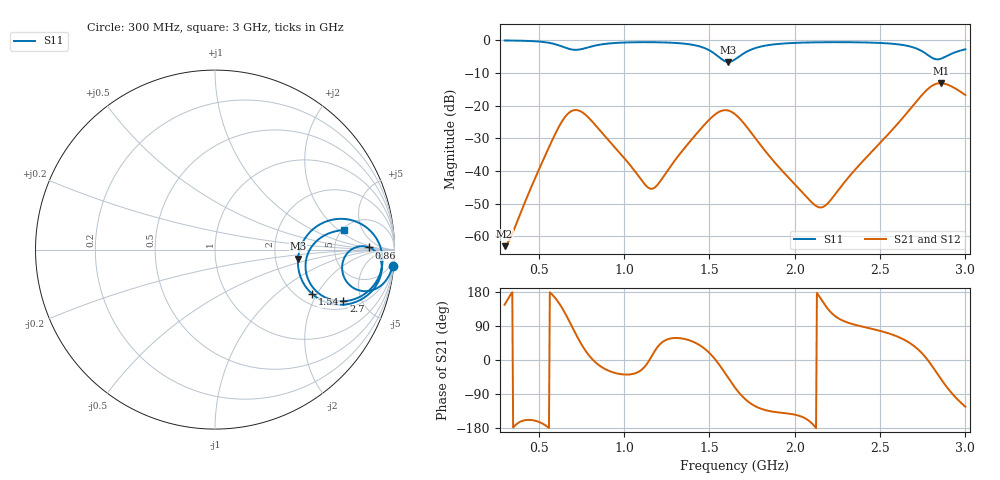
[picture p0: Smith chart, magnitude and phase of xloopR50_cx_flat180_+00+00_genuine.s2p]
! xloopR50_cx_flat180_+00+00_genuine, gap C 0.80 pF
! simulated by sim/fixtures_fdtd.py (S12 = S21, S22 not computed)
# HZ S RI R 50
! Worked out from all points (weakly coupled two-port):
!   541 points, 300 MHz to 3 GHz, reference 50 ohm
!   highest |S21| = -13.12 dB at 2.855 GHz (marker M1); lowest = -63.0 dB at 300 MHz (marker M2)
!   lowest |S11| = -6.6 dB at 1.61 GHz (marker M3), VSWR 2.74, Z = 135 - j17.1 ohm
!   |S11| at or under -10 dB: nowhere
!   |S22| runs from - to - dB; largest |S21 - S12| = 0
!   S11 on the Smith chart (normalised r, x): 300 MHz: 1, -21; 860 MHz: 13, +1; 1.54 GHz: 2.38, -1.84; 2.7 GHz: 2.48, -3.51; 3 GHz: 5.21, +2.43
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3e8  0.9896 -0.0924  -0.000586 0.000397  -0.000586 0.000397  0 0
3.4e8  0.9852 -0.108  -0.00103 7.49e-05  -0.00103 7.49e-05  0 0
5.1e8  0.9321 -0.1943  -0.0115 -0.00305  -0.0115 -0.00305  0 0
6.25e8  0.7924 -0.2237  -0.0424 0.0287  -0.0424 0.0287  0 0
6.9e8  0.7126 -0.1346  -0.00362 0.0821  -0.00362 0.0821  0 0
7.5e8  0.7306 -0.0288  0.0603 0.0536  0.0603 0.0536  0 0
8.6e8  0.8586 0.012  0.0398 -0.0114  0.0398 -0.0114  0 0
1.135e9  0.9273 -0.125  0.00567 -0.000947  0.00567 -0.000947  0 0
1.2e9  0.918 -0.1599  0.0051 0.00376  0.0051 0.00376  0 0
1.395e9  0.8116 -0.2793  0.0194 0.0231  0.0194 0.0231  0 0
1.54e9  0.5432 -0.2488  0.0755 -0.00247  0.0755 -0.00247  0 0
1.61e9  0.4627 -0.0499  0.0574 -0.0617  0.0574 -0.0617  0 0
1.65e9  0.505 0.068  0.0218 -0.0708  0.0218 -0.0708  0 0
1.725e9  0.6612 0.168  -0.0147 -0.0427  -0.0147 -0.0427  0 0
1.835e9  0.8236 0.1373  -0.013 -0.0139  -0.013 -0.0139  0 0
2.1e9  0.9283 -0.00926  -0.00322 -0.00075  -0.00322 -0.00075  0 0
2.185e9  0.9333 -0.0477  -0.00234 0.00195  -0.00234 0.00195  0 0
2.55e9  0.8675 -0.2185  0.0125 0.0349  0.0125 0.0349  0 0
2.7e9  0.715 -0.2876  0.0845 0.0627  0.0845 0.0627  0 0
2.77e9  0.5729 -0.2395  0.1691 0.0155  0.1691 0.0155  0 0
2.855e9  0.5206 -0.0156  0.1448 -0.1667  0.1448 -0.1667  0 0
3e9  0.7205 0.1092  -0.0798 -0.1215  -0.0798 -0.1215  0 0
